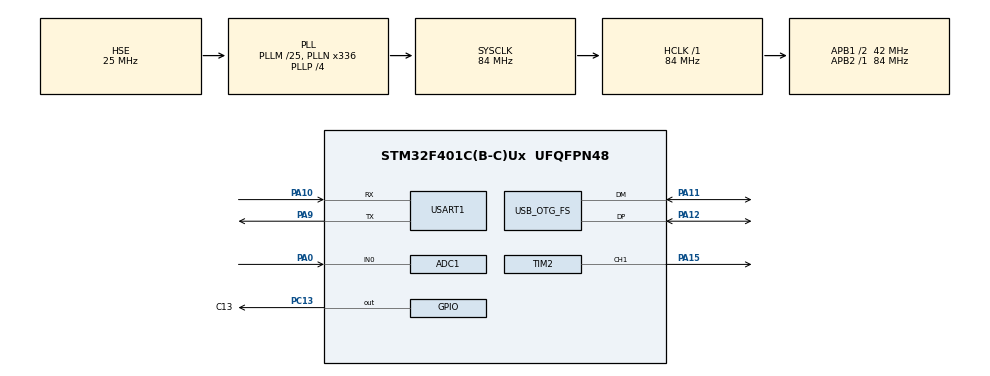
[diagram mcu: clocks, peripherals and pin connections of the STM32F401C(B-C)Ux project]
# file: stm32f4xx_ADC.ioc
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ADC1.Channel-0\#ChannelRegularConversion=ADC_CHANNEL_0
ADC1.Channel-3\#ChannelRegularConversion=ADC_CHANNEL_VREFINT
ADC1.ClockPrescaler=ADC_CLOCK_SYNC_PCLK_DIV6
ADC1.ContinuousConvMode=ENABLE
ADC1.DMAContinuousRequests=ENABLE
ADC1.InjNumberOfConversion=0
ADC1.NbrOfConversion=2
ADC1.NbrOfConversionFlag=1
ADC1.Rank-0\#ChannelRegularConversion=1
ADC1.Rank-3\#ChannelRegularConversion=2
ADC1.SamplingTime-0\#ChannelRegularConversion=ADC_SAMPLETIME_144CYCLES
ADC1.SamplingTime-3\#ChannelRegularConversion=ADC_SAMPLETIME_112CYCLES
ADC1.master=1
Dma.ADC1.0.Direction=DMA_PERIPH_TO_MEMORY
Dma.ADC1.0.FIFOMode=DMA_FIFOMODE_DISABLE
Dma.ADC1.0.Instance=DMA2_Stream0
Dma.ADC1.0.MemDataAlignment=DMA_MDATAALIGN_HALFWORD
Dma.ADC1.0.MemInc=DMA_MINC_ENABLE
Dma.ADC1.0.Mode=DMA_CIRCULAR
Dma.ADC1.0.PeriphDataAlignment=DMA_PDATAALIGN_HALFWORD
Dma.ADC1.0.PeriphInc=DMA_PINC_DISABLE
Dma.ADC1.0.Priority=DMA_PRIORITY_LOW
Dma.Request0=ADC1
Dma.Request1=USART1_RX
Dma.Request2=USART1_TX
Dma.USART1_RX.1.Direction=DMA_PERIPH_TO_MEMORY
Dma.USART1_RX.1.FIFOMode=DMA_FIFOMODE_DISABLE
Dma.USART1_RX.1.Instance=DMA2_Stream2
Dma.USART1_RX.1.MemDataAlignment=DMA_MDATAALIGN_BYTE
Dma.USART1_RX.1.MemInc=DMA_MINC_ENABLE
Dma.USART1_RX.1.Mode=DMA_NORMAL
Dma.USART1_RX.1.PeriphDataAlignment=DMA_PDATAALIGN_BYTE
Dma.USART1_RX.1.PeriphInc=DMA_PINC_DISABLE
Dma.USART1_RX.1.Priority=DMA_PRIORITY_MEDIUM
Dma.USART1_TX.2.Direction=DMA_MEMORY_TO_PERIPH
Dma.USART1_TX.2.FIFOMode=DMA_FIFOMODE_DISABLE
Dma.USART1_TX.2.Instance=DMA2_Stream7
Dma.USART1_TX.2.MemDataAlignment=DMA_MDATAALIGN_BYTE
Dma.USART1_TX.2.MemInc=DMA_MINC_ENABLE
Dma.USART1_TX.2.Mode=DMA_NORMAL
Dma.USART1_TX.2.PeriphDataAlignment=DMA_PDATAALIGN_BYTE
Dma.USART1_TX.2.PeriphInc=DMA_PINC_DISABLE
Dma.USART1_TX.2.Priority=DMA_PRIORITY_HIGH
Mcu.Family=STM32F4
Mcu.Name=STM32F401C(B-C)Ux
Mcu.Package=UFQFPN48
NVIC.ADC_IRQn=true\:0\:0\:false\:false\:true\:true\:true
NVIC.DMA2_Stream0_IRQn=true\:0\:0\:false\:false\:true\:false\:true
NVIC.DMA2_Stream2_IRQn=true\:0\:0\:false\:false\:true\:false\:true
NVIC.DMA2_Stream7_IRQn=true\:0\:0\:false\:false\:true\:false\:true
NVIC.OTG_FS_IRQn=true\:0\:0\:false\:false\:true\:false\:true
NVIC.PriorityGroup=NVIC_PRIORITYGROUP_4
NVIC.USART1_IRQn=true\:0\:0\:false\:false\:true\:true\:true
PA0-WKUP.Signal=ADCx_IN0
PA10.Mode=Asynchronous
PA10.Signal=USART1_RX
PA11.Mode=Device_Only
PA11.Signal=USB_OTG_FS_DM
PA12.Mode=Device_Only
PA12.Signal=USB_OTG_FS_DP
PA13.Mode=Serial_Wire
PA13.Signal=SYS_JTMS-SWDIO
PA14.Mode=Serial_Wire
PA14.Signal=SYS_JTCK-SWCLK
PA15.Signal=S_TIM2_CH1_ETR
PA9.Mode=Asynchronous
PA9.Signal=USART1_TX
PC13-ANTI_TAMP.GPIO_Label=C13
PC13-ANTI_TAMP.PinState=GPIO_PIN_SET
PC13-ANTI_TAMP.Signal=GPIO_Output
PC14-OSC32_IN.Mode=LSE-External-Oscillator
PC14-OSC32_IN.Signal=RCC_OSC32_IN
PC15-OSC32_OUT.Mode=LSE-External-Oscillator
PC15-OSC32_OUT.Signal=RCC_OSC32_OUT
PH0\ -\ OSC_IN.Mode=HSE-External-Oscillator
PH0\ -\ OSC_IN.Signal=RCC_OSC_IN
PH1\ -\ OSC_OUT.Mode=HSE-External-Oscillator
PH1\ -\ OSC_OUT.Signal=RCC_OSC_OUT
ProjectManager.HeapSize=0x800
ProjectManager.StackSize=0x400
ProjectManager.TargetToolchain=MDK-ARM V5
RCC.48MHZClocksFreq_Value=48000000
RCC.AHBFreq_Value=84000000
RCC.APB1CLKDivider=RCC_HCLK_DIV2
RCC.APB1Freq_Value=42000000
RCC.APB1TimFreq_Value=84000000
RCC.APB2Freq_Value=84000000
RCC.APB2TimFreq_Value=84000000
RCC.CortexFreq_Value=84000000
RCC.HCLKFreq_Value=84000000
RCC.HSE_VALUE=25000000
RCC.HSI_VALUE=16000000
RCC.PLLM=25
RCC.PLLN=336
RCC.PLLP=RCC_PLLP_DIV4
RCC.PLLQ=7
RCC.SYSCLKFreq_VALUE=84000000
RCC.SYSCLKSource=RCC_SYSCLKSOURCE_PLLCLK
RCC.VCOOutputFreq_Value=336000000
SH.ADCx_IN0.0=ADC1_IN0,IN0
SH.S_TIM2_CH1_ETR.0=TIM2_CH1,PWM Generation1 CH1
TIM2.Channel-PWM\ Generation1\ CH1=TIM_CHANNEL_1
TIM2.Period=100-1
TIM2.Prescaler=84-1
TIM2.Pulse-PWM\ Generation1\ CH1=50
USART1.VirtualMode=VM_ASYNC
USB_DEVICE.CLASS_NAME_FS=CDC
USB_DEVICE.VirtualMode=Cdc
USB_DEVICE.VirtualModeFS=Cdc_FS
USB_OTG_FS.VirtualMode=Device_Only
VP_ADC1_Vref_Input.Mode=IN-Vrefint
VP_USB_DEVICE_VS_USB_DEVICE_CDC_FS.Mode=CDC_FS
board=custom

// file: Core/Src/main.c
/* USER CODE BEGIN Header */
/**
  ******************************************************************************
  * @file           : main.c
  * @brief          : Main program body
  ******************************************************************************
  * @attention
  *
  * <h2><center>&copy; Copyright (c) 2019 STMicroelectronics.
  * All rights reserved.</center></h2>
  *
  * This software component is licensed by ST under Ultimate Liberty license
  * SLA0044, the "License"; You may not use this file except in compliance with
  * the License. You may obtain a copy of the License at:
  *                             www.st.com/SLA0044
  *
  ******************************************************************************
  */
/* USER CODE END Header */

#include "main.h"
#include "adc.h"
#include "dma.h"
#include "tim.h"
#include "usart.h"
#include "usb_device.h"
#include "gpio.h"

/* USER CODE BEGIN Includes */
#include "ringbuff/ringbuff.h"
#include "usbd_cdc_if.h"
#include "usart.h"
#include <string.h>
/* USER CODE END Includes */

/* USER CODE BEGIN PTD */
#ifdef __GNUC__
/* With GCC, small printf (option LD Linker->Libraries->Small printf
   set to 'Yes') calls __io_putchar() */
#define PUTCHAR_PROTOTYPE int __io_putchar(int ch)
#else
#define PUTCHAR_PROTOTYPE int fputc(int ch, FILE *f)
#endif /* __GNUC__ */
/* USER CODE END PTD */

/* USER CODE BEGIN PV */

uint16_t uadc[2];
uint16_t adcr[2000];
ringbuff_t adcbuff;
uint32_t hightcount;
uint32_t lowcount;
float freq;
float duty;
size_t len;
uint16_t read[10];
uint8_t send[10];
/* USER CODE END PV */

void SystemClock_Config(void);

/* USER CODE BEGIN 0 */
 /*
  *power by WeAct Studio
  *The board with `WeAct` Logo && `version number` is our board, quality guarantee.
  *For more information please visit: https://github.com/WeActTC/MiniF4-STM32F4x1
  *更多信息请访问：https://gitee.com/WeActTC/MiniF4-STM32F4x1
  */
/* USER CODE END 0 */

int main(void)
{
  /* USER CODE BEGIN 1 */
	uint8_t send[80];
	uint32_t len_send;
  /* USER CODE END 1 */

  /* MCU Configuration--------------------------------------------------------*/

  /* Reset of all peripherals, Initializes the Flash interface and the Systick. */
  HAL_Init();

  /* Configure the system clock */
  SystemClock_Config();

  /* Initialize all configured peripherals */
  MX_GPIO_Init();
  MX_DMA_Init();
  MX_ADC1_Init();
  MX_USB_DEVICE_Init();
  MX_TIM2_Init();
  MX_USART1_UART_Init();
  /* USER CODE BEGIN 2 */
  ringbuff_init(&adcbuff,adcr,sizeof(adcr));

  HAL_TIM_PWM_Start(&htim2,TIM_CHANNEL_1);
  HAL_ADC_Start_DMA(&hadc1,(uint32_t *)&uadc,2);
  HAL_Delay(1);

  /* USER CODE END 2 */

  /* Infinite loop */
  while (1)
  {

    /* USER CODE BEGIN 3 */
	  /* 使用adc识别矩形波 频率占空比 */

	  /* 从ringbuff读取adc数据 */
		len = ringbuff_read(&adcbuff,read,sizeof(read));
	  /* 数据处理 每10个处理一次*/
	  for(uint8_t i=0;i<(len/2);i++)
	  {
		  static uint32_t th,tl,flag;
		  if(read[i] > 4000)
		  {
			  th++;
			  if(flag == 0) lowcount = tl,tl = 0,flag = 1;
			  freq = (14000000.f/280) / (float)(lowcount + hightcount);
			  duty = (float)hightcount  / (float)(lowcount + hightcount);
		  }
		  else if(read[i] < 50)
		  {
			  tl ++;
			  if(flag == 1) hightcount = th,th = 0,flag = 0;
		  }
	  }
	  if(HAL_GetTick() % 1000 == 0)  // 1000ms
	  {
			len_send = sprintf((char *)&send,"freq:%.2f hz,Duty:%.2f%%\r\n",freq,duty*100);

#if 1	 /* 打印ringbuff参数数据 */
	size_t r, w, f, e;
    r = adcbuff.r;
    w = adcbuff.w;
    f = ringbuff_get_full(&adcbuff);
    e = ringbuff_get_free(&adcbuff);
		len_send  += sprintf((char *)&send[len_send],"R: %3d, W: %3d, F: %3d, E: %3d\r\n", (int)r, (int)w, (int)f, (int)e);

#endif
		  CDC_Transmit_FS(send,len_send);
		  printf("%.*s",len_send,send);
	  }

  }
  /* USER CODE END 3 */
}

void SystemClock_Config(void)
{
  RCC_OscInitTypeDef RCC_OscInitStruct = {0};
  RCC_ClkInitTypeDef RCC_ClkInitStruct = {0};

  /** Configure the main internal regulator output voltage
  */
  __HAL_RCC_PWR_CLK_ENABLE();
  __HAL_PWR_VOLTAGESCALING_CONFIG(PWR_REGULATOR_VOLTAGE_SCALE2);
  /** Initializes the CPU, AHB and APB busses clocks
  */
  RCC_OscInitStruct.OscillatorType = RCC_OSCILLATORTYPE_HSE;
  RCC_OscInitStruct.HSEState = RCC_HSE_ON;
  RCC_OscInitStruct.PLL.PLLState = RCC_PLL_ON;
  RCC_OscInitStruct.PLL.PLLSource = RCC_PLLSOURCE_HSE;
  RCC_OscInitStruct.PLL.PLLM = 25;
  RCC_OscInitStruct.PLL.PLLN = 336;
  RCC_OscInitStruct.PLL.PLLP = RCC_PLLP_DIV4;
  RCC_OscInitStruct.PLL.PLLQ = 7;
  if (HAL_RCC_OscConfig(&RCC_OscInitStruct) != HAL_OK)
  {
    Error_Handler();
  }
  /** Initializes the CPU, AHB and APB busses clocks
  */
  RCC_ClkInitStruct.ClockType = RCC_CLOCKTYPE_HCLK|RCC_CLOCKTYPE_SYSCLK
                              |RCC_CLOCKTYPE_PCLK1|RCC_CLOCKTYPE_PCLK2;
  RCC_ClkInitStruct.SYSCLKSource = RCC_SYSCLKSOURCE_PLLCLK;
  RCC_ClkInitStruct.AHBCLKDivider = RCC_SYSCLK_DIV1;
  RCC_ClkInitStruct.APB1CLKDivider = RCC_HCLK_DIV2;
  RCC_ClkInitStruct.APB2CLKDivider = RCC_HCLK_DIV1;

  if (HAL_RCC_ClockConfig(&RCC_ClkInitStruct, FLASH_LATENCY_2) != HAL_OK)
  {
    Error_Handler();
  }
}

/* USER CODE BEGIN 4 */

void HAL_ADC_ConvCpltCallback(ADC_HandleTypeDef* hadc)
{
	LL_GPIO_TogglePin(C13_GPIO_Port,C13_Pin);
	ringbuff_write(&adcbuff,uadc,2);

}

PUTCHAR_PROTOTYPE
{
  /* Place your implementation of fputc here */
  /* e.g. write a character to the USART1 and Loop until the end of transmission */
	HAL_UART_Transmit(&huart1,(uint8_t *)&ch, 1,10);
  return ch;
}
/* USER CODE END 4 */

void Error_Handler(void)
{
}

/************************ (C) COPYRIGHT STMicroelectronics *****END OF FILE****/
